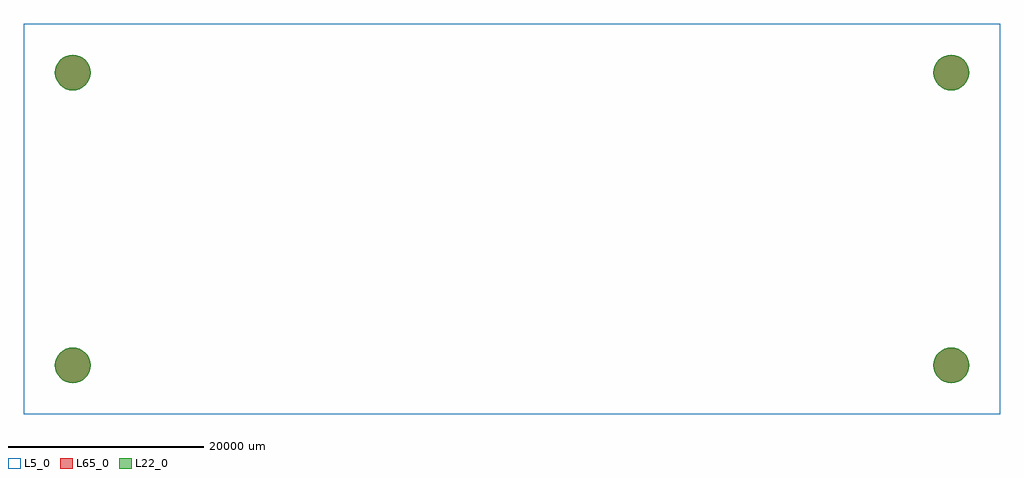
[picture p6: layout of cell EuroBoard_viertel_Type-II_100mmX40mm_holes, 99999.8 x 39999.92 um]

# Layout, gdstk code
import gdstk
lib = gdstk.Library(unit=1e-6, precision=1e-09)
def R(c, l, rs):  # rectangles x0, y0, x1, y1
    for r in rs: c.add(gdstk.rectangle(r[:2], r[2:], *l))
def P(c, l, *ps):  # polygons
    for p in ps: c.add(gdstk.Polygon(p, *l))
L5_0 = (5, 0)
L22_0 = (22, 0)
L65_0 = (65, 0)

euroboard_viertel_type_i = lib.new_cell('EuroBoard_viertel_Type-II_100mmX40mm_holes')
R(euroboard_viertel_type_i, L5_0, [(0,0,99999.8,39999.92)])
P(euroboard_viertel_type_i, L22_0, [(96826.14,5001.26),(96791.072,5357.312),(96687.216,5699.68),(96518.562,6015.209),(96291.592,6291.772),(96015.029,6518.742),(95699.5,6687.396),(95357.132,6791.252),(95001.08,6826.32),(94645.028,6791.252),(94302.66,6687.396),(93987.131,6518.742),(93710.568,6291.772),(93483.598,6015.209),(93314.944,5699.68),(93211.088,5357.312),(93176.02,5001.26),(93211.088,4645.208),(93314.944,4302.84),(93483.598,3987.311),(93710.568,3710.748),(93987.131,3483.778),(94302.66,3315.124),(94645.028,3211.268),(95001.08,3176.2),(95357.132,3211.268),(95699.5,3315.124),(96015.029,3483.778),(96291.592,3710.748),(96518.562,3987.311),(96687.216,4302.84),(96791.072,4645.208)],
  [(96826.14,35001.2),(96791.072,35357.252),(96687.216,35699.62),(96518.562,36015.149),(96291.592,36291.712),(96015.029,36518.682),(95699.5,36687.336),(95357.132,36791.192),(95001.08,36826.26),(94645.028,36791.192),(94302.66,36687.336),(93987.131,36518.682),(93710.568,36291.712),(93483.598,36015.149),(93314.944,35699.62),(93211.088,35357.252),(93176.02,35001.2),(93211.088,34645.148),(93314.944,34302.78),(93483.598,33987.251),(93710.568,33710.688),(93987.131,33483.718),(94302.66,33315.064),(94645.028,33211.208),(95001.08,33176.14),(95357.132,33211.208),(95699.5,33315.064),(96015.029,33483.718),(96291.592,33710.688),(96518.562,33987.251),(96687.216,34302.78),(96791.072,34645.148)],
  [(6826.32,35001.2),(6791.252,35357.252),(6687.396,35699.62),(6518.742,36015.149),(6291.772,36291.712),(6015.209,36518.682),(5699.68,36687.336),(5357.312,36791.192),(5001.26,36826.26),(4645.208,36791.192),(4302.84,36687.336),(3987.311,36518.682),(3710.748,36291.712),(3483.778,36015.149),(3315.124,35699.62),(3211.268,35357.252),(3176.2,35001.2),(3211.268,34645.148),(3315.124,34302.78),(3483.778,33987.251),(3710.748,33710.688),(3987.311,33483.718),(4302.84,33315.064),(4645.208,33211.208),(5001.26,33176.14),(5357.312,33211.208),(5699.68,33315.064),(6015.209,33483.718),(6291.772,33710.688),(6518.742,33987.251),(6687.396,34302.78),(6791.252,34645.148)],
  [(6826.32,5001.26),(6791.252,5357.312),(6687.396,5699.68),(6518.742,6015.209),(6291.772,6291.772),(6015.209,6518.742),(5699.68,6687.396),(5357.312,6791.252),(5001.26,6826.32),(4645.208,6791.252),(4302.84,6687.396),(3987.311,6518.742),(3710.748,6291.772),(3483.778,6015.209),(3315.124,5699.68),(3211.268,5357.312),(3176.2,5001.26),(3211.268,4645.208),(3315.124,4302.84),(3483.778,3987.311),(3710.748,3710.748),(3987.311,3483.778),(4302.84,3315.124),(4645.208,3211.268),(5001.26,3176.2),(5357.312,3211.268),(5699.68,3315.124),(6015.209,3483.778),(6291.772,3710.748),(6518.742,3987.311),(6687.396,4302.84),(6791.252,4645.208)])
P(euroboard_viertel_type_i, L65_0, [(96826.14,5001.26),(96791.072,5357.312),(96687.216,5699.68),(96518.562,6015.209),(96291.592,6291.772),(96015.029,6518.742),(95699.5,6687.396),(95357.132,6791.252),(95001.08,6826.32),(94645.028,6791.252),(94302.66,6687.396),(93987.131,6518.742),(93710.568,6291.772),(93483.598,6015.209),(93314.944,5699.68),(93211.088,5357.312),(93176.02,5001.26),(93211.088,4645.208),(93314.944,4302.84),(93483.598,3987.311),(93710.568,3710.748),(93987.131,3483.778),(94302.66,3315.124),(94645.028,3211.268),(95001.08,3176.2),(95357.132,3211.268),(95699.5,3315.124),(96015.029,3483.778),(96291.592,3710.748),(96518.562,3987.311),(96687.216,4302.84),(96791.072,4645.208)],
  [(96826.14,35001.2),(96791.072,35357.252),(96687.216,35699.62),(96518.562,36015.149),(96291.592,36291.712),(96015.029,36518.682),(95699.5,36687.336),(95357.132,36791.192),(95001.08,36826.26),(94645.028,36791.192),(94302.66,36687.336),(93987.131,36518.682),(93710.568,36291.712),(93483.598,36015.149),(93314.944,35699.62),(93211.088,35357.252),(93176.02,35001.2),(93211.088,34645.148),(93314.944,34302.78),(93483.598,33987.251),(93710.568,33710.688),(93987.131,33483.718),(94302.66,33315.064),(94645.028,33211.208),(95001.08,33176.14),(95357.132,33211.208),(95699.5,33315.064),(96015.029,33483.718),(96291.592,33710.688),(96518.562,33987.251),(96687.216,34302.78),(96791.072,34645.148)],
  [(6826.32,35001.2),(6791.252,35357.252),(6687.396,35699.62),(6518.742,36015.149),(6291.772,36291.712),(6015.209,36518.682),(5699.68,36687.336),(5357.312,36791.192),(5001.26,36826.26),(4645.208,36791.192),(4302.84,36687.336),(3987.311,36518.682),(3710.748,36291.712),(3483.778,36015.149),(3315.124,35699.62),(3211.268,35357.252),(3176.2,35001.2),(3211.268,34645.148),(3315.124,34302.78),(3483.778,33987.251),(3710.748,33710.688),(3987.311,33483.718),(4302.84,33315.064),(4645.208,33211.208),(5001.26,33176.14),(5357.312,33211.208),(5699.68,33315.064),(6015.209,33483.718),(6291.772,33710.688),(6518.742,33987.251),(6687.396,34302.78),(6791.252,34645.148)],
  [(6826.32,5001.26),(6791.252,5357.312),(6687.396,5699.68),(6518.742,6015.209),(6291.772,6291.772),(6015.209,6518.742),(5699.68,6687.396),(5357.312,6791.252),(5001.26,6826.32),(4645.208,6791.252),(4302.84,6687.396),(3987.311,6518.742),(3710.748,6291.772),(3483.778,6015.209),(3315.124,5699.68),(3211.268,5357.312),(3176.2,5001.26),(3211.268,4645.208),(3315.124,4302.84),(3483.778,3987.311),(3710.748,3710.748),(3987.311,3483.778),(4302.84,3315.124),(4645.208,3211.268),(5001.26,3176.2),(5357.312,3211.268),(5699.68,3315.124),(6015.209,3483.778),(6291.772,3710.748),(6518.742,3987.311),(6687.396,4302.84),(6791.252,4645.208)])
euroboard_viertel_type_i.add(gdstk.Label('type', (51000.66,-7000.24), layer=9, texttype=0))
euroboard_viertel_type_i.add(gdstk.Label('devicename', (51998.88,44000.42), layer=9, texttype=0))

lib.write_gds('EuroBoard_viertel_Type-II_100mmX40mm_holes.gds')
